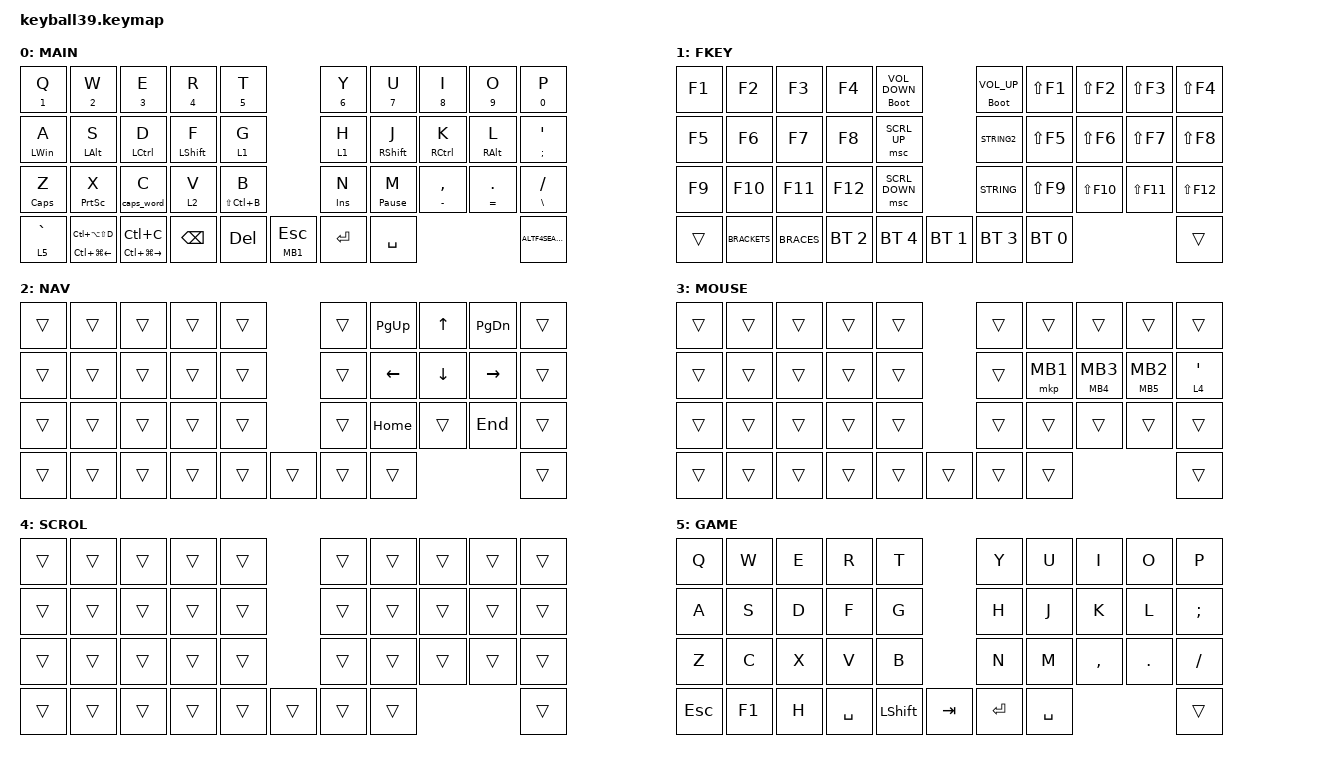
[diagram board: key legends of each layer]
#define ZMK_POINTING_DEFAULT_MOVE_VAL 3200  // default: 600
#define ZMK_POINTING_DEFAULT_SCRL_VAL 10    // default: 10
#define MOVE_NORMAL  <&kp MOUSE_MOVE_X>  // default layer’s pointer
#define MOVE_SLOW    <&kp MOUSE_MOVE_X_1>  // slower
#define MOVE_FAST    <&kp MOUSE_MOVE_X_3>  // faster

//#include <dt-bindings/zmk/stp.h>

#include <behaviors.dtsi>
#include <dt-bindings/zmk/bt.h>
#include <dt-bindings/zmk/keys.h>
#include <dt-bindings/zmk/pointing.h>

//&sl { release-after-ms = <1000>; };
//&lt { flavor = "tap-preferred"; };
//&mt { flavor = "tap-preferred"; };

/ {
    behaviors {
        AHM: AHM {
            compatible = "zmk,behavior-hold-tap";
            label = "AHM";
            bindings = <&kp>, <&kp>;

            #binding-cells = <2>;
            tapping-term-ms = <180>;
            flavor = "tap-preferred";
            require-prior-idle-ms = <0>;
        };

        AHMCAPSWORD: AHMCAPSWORD {
            compatible = "zmk,behavior-hold-tap";
            label = "AHMCAPSWORD";
            bindings = <&caps_word>, <&kp>;

            #binding-cells = <2>;
            tapping-term-ms = <225>;
            flavor = "tap-preferred";
        };

        VOLDOWNBL: VOLDOWNBL {
            compatible = "zmk,behavior-hold-tap";
            label = "VOLDOWNBL";
            bindings = <&bootloader>, <&kp>;

            #binding-cells = <2>;
            tapping-term-ms = <225>;
            flavor = "tap-preferred";
        };

        VOLUPBL: VOLUPBL {
            compatible = "zmk,behavior-hold-tap";
            label = "VOLUPBL";
            bindings = <&bootloader>, <&kp>;

            #binding-cells = <2>;
            tapping-term-ms = <225>;
            flavor = "tap-preferred";
        };

        ALTF4SEARCH: ALTF4SEARCH {
            compatible = "zmk,behavior-mod-morph";
            label = "ALTF4SEARCH";
            bindings = <&AHM LA(F4) LS(LC(A))>, <&AHM LA(F4) LS(LC(A))>;

            #binding-cells = <0>;
            mods = <(MOD_LSFT|MOD_RSFT)>;
        };

        AHMNUM: AHMNUM {
            compatible = "zmk,behavior-hold-tap";
            label = "AHMNUM";
            bindings = <&kp>, <&kp>;

            #binding-cells = <2>;
            tapping-term-ms = <180>;
            flavor = "tap-preferred";
            require-prior-idle-ms = <0>;
        };

        KPTOG: KPTOG {
            compatible = "zmk,behavior-hold-tap";
            label = "KPTOG";
            bindings = <&tog>, <&kp>;

            #binding-cells = <2>;
            tapping-term-ms = <180>;
        };

        KPMO: KPMO {
            compatible = "zmk,behavior-hold-tap";
            label = "KPMO";
            bindings = <&mo>, <&kp>;

            #binding-cells = <2>;
            tapping-term-ms = <150>;
        };

        MKPMKP: MKPMKP {
            compatible = "zmk,behavior-hold-tap";
            label = "MKPMKP";
            bindings = <&mkp>, <&mkp>;

            #binding-cells = <2>;
            tapping-term-ms = <180>;
            flavor = "tap-preferred";
        };

        SL_MOUSE: SL_MOUSE {
            compatible = "zmk,behavior-sticky-key";
            label = "SL_MOUSE";
            bindings = <&mo>;
            #binding-cells = <1>;
            release-after-ms = <4294000000>;
        };

        SL_FKEYS: SL_FKEYS {
            compatible = "zmk,behavior-hold-tap";
            label = "SL_FKEYS";
            bindings = <&sl>, <&kp>;

            #binding-cells = <2>;
            tapping-term-ms = <170>;
            flavor = "tap-preferred";
        };

        AHM_SLOWER: AHM_SLOWER {
            compatible = "zmk,behavior-hold-tap";
            label = "AHM_SLOWER";
            bindings = <&kp>, <&kp>;

            #binding-cells = <2>;
            tapping-term-ms = <180>;
            flavor = "tap-preferred";
            require-prior-idle-ms = <0>;
        };

        kpmkp: kpmkp {
            compatible = "zmk,behavior-hold-tap";
            label = "KPMKP";
            bindings = <&mkp>, <&kp>;

            #binding-cells = <2>;
            tapping-term-ms = <180>;
        };

        mkpmo: mkpmo {
            compatible = "zmk,behavior-hold-tap";
            label = "MKPMO";
            bindings = <&mo>, <&mkp>;

            #binding-cells = <2>;
            tapping-term-ms = <180>;
        };
    };

    combos {
        compatible = "zmk,combos";

        CMB_BACKSPACE {
            bindings = <&SL_MOUSE 3>;
            key-positions = <16 17 18>;
        };

        CMB_SL_MOUSE {
            bindings = <&mkp MB1>;
            key-positions = <16 17>;
        };

        CMB_ESC {
            bindings = <&mkp MB2>;
            key-positions = <17 18>;
        };

        CMB_TAB {
            bindings = <&kp TAB>;
            key-positions = <13 12>;
        };

        CMB_BTAB {
            bindings = <&kp LS(TAB)>;
            key-positions = <12 11>;
        };

        MAIN {
            bindings = <&to 0>;
            key-positions = <12 11 13>;
        };

        mb3 {
            bindings = <&mkpmo 4 MB3>;
            key-positions = <18 16>;
        };
    };

    macros {
        STRING: string {
            compatible = "zmk,behavior-macro";
            #binding-cells = <0>;
            bindings = <&kp LS(T) &kp I &kp R &kp E &kp S &kp UNDER &kp N2 &kp N2 &kp N8 &kp N6 &kp EXCL &kp LS(B) &kp LS(R)>;
            label = "STRING";
        };

        PARENTH: parenth {
            compatible = "zmk,behavior-macro";
            #binding-cells = <0>;
            bindings = <&kp LEFT_PARENTHESIS &kp RPAR &kp LEFT>;
            label = "PARENTH";
        };

        BRACKETS: brack {
            compatible = "zmk,behavior-macro";
            #binding-cells = <0>;
            bindings = <&kp LEFT_BRACKET &kp RIGHT_BRACKET &kp LEFT>;
            label = "BRACK";
        };

        BRACES: brace {
            compatible = "zmk,behavior-macro";
            #binding-cells = <0>;
            bindings = <&kp LEFT_BRACE &kp RIGHT_BRACE &kp LEFT>;
            label = "BRACE";
        };

        STRING2: string2 {
            compatible = "zmk,behavior-macro";
            #binding-cells = <0>;
            bindings = <&kp LS(H) &kp O &kp N &kp D &kp A &kp UNDER &kp LS(S) &kp LS(S) &kp AT &kp N2 &kp N2 &kp N8 &kp N6>;
            label = "STRING2";
        };
    };

    keymap {
        compatible = "zmk,keymap";

        MAIN {
            display-name = "MAIN";
            bindings = <
&AHMNUM NUMBER_1 Q  &AHMNUM NUMBER_2 W               &AHMNUM NUMBER_3 E        &AHM_SLOWER NUMBER_4 R  &AHMNUM N5 T                                 &AHMNUM NUMBER_6 Y  &AHM_SLOWER N7 U    &AHMNUM N8 I      &AHMNUM N9 O       &AHMNUM N0 P
&AHM LEFT_WIN A     &AHM LEFT_ALT S                  &AHM LCTRL D              &AHM LEFT_SHIFT F       &SL_FKEYS 1 G                                &lt 1 H             &AHM RIGHT_SHIFT J  &AHM RCTRL K      &AHM RIGHT_ALT L   &AHM SEMICOLON APOSTROPHE
&AHM CAPS Z         &AHM PRINTSCREEN X               &AHMCAPSWORD 0 C          &lt 2 V                 &AHM LS(LC(B)) B                             &AHM INSERT N       &AHM PAUSE_BREAK M  &AHM MINUS COMMA  &AHM EQUAL PERIOD  &AHM BACKSLASH SLASH
&KPTOG 5 GRAVE      &AHM LC(LG(LEFT)) LC(LA(LS(D)))  &AHM LC(LG(RIGHT)) LC(C)  &kp BACKSPACE           &kp DEL           &kpmkp MB1 ESC  &kp ENTER  &kp SPACE                                                                    &ALTF4SEARCH
            >;
        };

        FKEYS {
            display-name = "FKEY";
            bindings = <
&kp F1  &kp F2     &kp F3   &kp F4        &VOLDOWNBL 0 C_VOLUME_DOWN                              &VOLUPBL 0 C_VOLUME_UP  &kp LS(F1)  &kp LS(F2)   &kp LS(F3)   &kp LS(F4)
&kp F5  &kp F6     &kp F7   &kp F8        &msc SCRL_UP                                            &STRING2                &kp LS(F5)  &kp LS(F6)   &kp LS(F7)   &kp LS(F8)
&kp F9  &kp F10    &kp F11  &kp F12       &msc SCRL_DOWN                                          &STRING                 &kp LS(F9)  &kp LS(F10)  &kp LS(F11)  &kp LS(F12)
&trans  &BRACKETS  &BRACES  &bt BT_SEL 2  &bt BT_SEL 4                &bt BT_SEL 1  &bt BT_SEL 3  &bt BT_SEL 0                                                  &trans
            >;
        };

        NAV {
            bindings = <
&trans  &trans  &trans  &trans  &trans                  &trans  &kp PAGE_UP  &kp UP    &kp PAGE_DOWN  &trans
&trans  &trans  &trans  &trans  &trans                  &trans  &kp LEFT     &kp DOWN  &kp RIGHT      &trans
&trans  &trans  &trans  &trans  &trans                  &trans  &kp HOME     &trans    &kp END        &trans
&trans  &trans  &trans  &trans  &trans  &trans  &trans  &trans                                        &trans
            >;

            label = "NAV";
        };

        MOUSE {
            bindings = <
&trans  &trans  &trans  &trans  &trans                  &trans  &trans    &trans           &trans           &trans
&trans  &trans  &trans  &trans  &trans                  &trans  &mkp MB1  &MKPMKP MB4 MB3  &MKPMKP MB5 MB2  &KPMO 4 APOS
&trans  &trans  &trans  &trans  &trans                  &trans  &trans    &trans           &trans           &trans
&trans  &trans  &trans  &trans  &trans  &trans  &trans  &trans                                              &trans
            >;

            label = "MOUSE";
        };

        SCROLL {
            bindings = <
&trans  &trans  &trans  &trans  &trans                  &trans  &trans  &trans  &trans  &trans
&trans  &trans  &trans  &trans  &trans                  &trans  &trans  &trans  &trans  &trans
&trans  &trans  &trans  &trans  &trans                  &trans  &trans  &trans  &trans  &trans
&trans  &trans  &trans  &trans  &trans  &trans  &trans  &trans                          &trans
            >;

            label = "SCROL";
        };

        GAME {
            bindings = <
&kp Q    &kp W   &kp E  &kp R      &kp T                          &kp Y      &kp U  &kp I      &kp O    &kp P
&kp A    &kp S   &kp D  &kp F      &kp G                          &kp H      &kp J  &kp K      &kp L    &kp SEMI
&kp Z    &kp C   &kp X  &kp V      &kp B                          &kp N      &kp M  &kp COMMA  &kp DOT  &kp FSLH
&kp ESC  &kp F1  &kp H  &kp SPACE  &kp LSHFT  &kp TAB  &kp ENTER  &kp SPACE                             &trans
            >;

            label = "GAME";
        };
    };

    conditional_layers { compatible = "zmk,conditional-layers"; };
};
